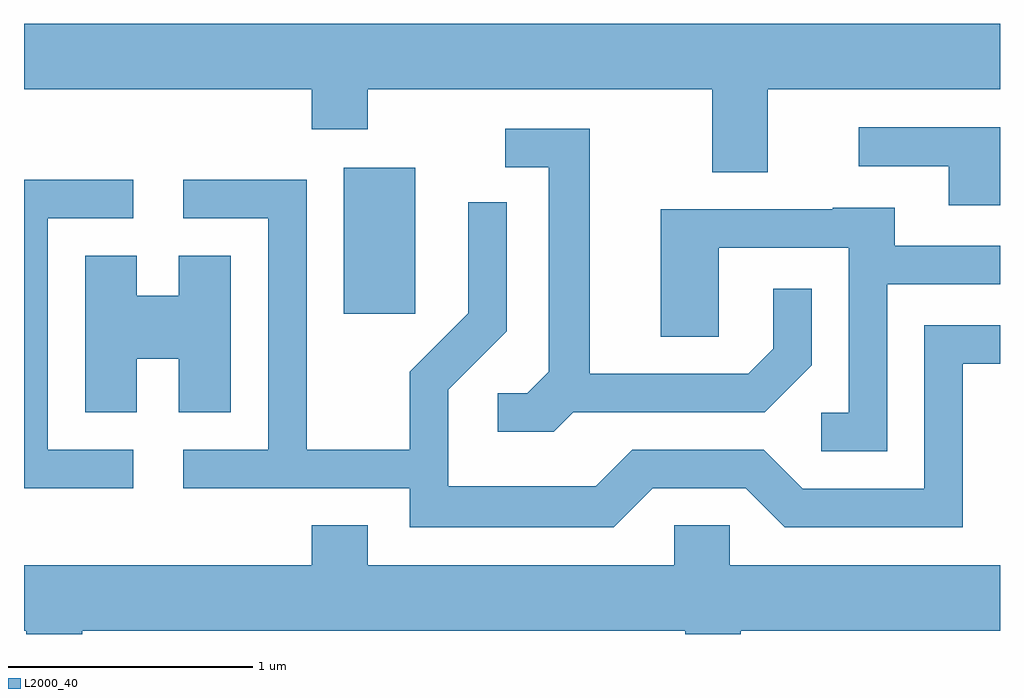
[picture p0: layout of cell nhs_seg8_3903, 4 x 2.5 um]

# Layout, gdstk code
import gdstk
lib = gdstk.Library(unit=1e-6, precision=1e-09)
def R(c, l, rs):  # rectangles x0, y0, x1, y1
    for r in rs: c.add(gdstk.rectangle(r[:2], r[2:], *l))
def P(c, l, *ps):  # polygons
    for p in ps: c.add(gdstk.Polygon(p, *l))
L2000_40 = (2000, 40)

nhs_seg8_3903 = lib.new_cell('nhs_seg8_3903')
R(nhs_seg8_3903, L2000_40, [(302.921,1897.656,303.214,1898.254)])
P(nhs_seg8_3903, L2000_40, [(304.659,1898.576),(305.611,1898.576),(305.611,1898.844),(301.611,1898.844),(301.611,1898.576),(302.791,1898.576),(302.791,1898.411),(303.019,1898.411),(303.019,1898.576),(304.431,1898.576),(304.431,1898.236),(304.659,1898.236)],
  [(305.611,1898.419),(305.033,1898.419),(305.033,1898.261),(305.401,1898.261),(305.401,1898.101),(305.611,1898.101)],
  [(303.862,1897.251),(304.647,1897.251),(304.839,1897.444),(304.839,1897.758),(304.681,1897.758),(304.681,1897.512),(304.579,1897.409),(303.929,1897.409),(303.929,1898.414),(303.583,1898.414),(303.583,1898.256),(303.761,1898.256),(303.761,1897.417),(303.674,1897.329),(303.553,1897.329),(303.553,1897.171),(303.782,1897.171)],
  [(304.187,1896.941),(304.569,1896.941),(304.729,1896.781),(305.459,1896.781),(305.459,1897.451),(305.611,1897.451),(305.611,1897.609),(305.301,1897.609),(305.301,1896.939),(304.802,1896.939),(304.642,1897.099),(304.104,1897.099),(303.954,1896.949),(303.349,1896.949),(303.349,1897.344),(303.589,1897.584),(303.589,1898.113),(303.431,1898.113),(303.431,1897.657),(303.191,1897.417),(303.191,1897.099),(302.769,1897.099),(302.769,1898.204),(302.263,1898.204),(302.263,1898.046),(302.611,1898.046),(302.611,1897.099),(302.263,1897.099),(302.263,1896.941),(303.191,1896.941),(303.191,1896.781),(304.027,1896.781)],
  [(302.058,1897.099),(301.709,1897.099),(301.709,1898.046),(302.058,1898.046),(302.058,1898.204),(301.611,1898.204),(301.611,1896.941),(302.058,1896.941)],
  [(305.149,1897.776),(305.611,1897.776),(305.611,1897.934),(305.179,1897.934),(305.179,1898.089),(304.925,1898.089),(304.925,1898.084),(304.221,1898.084),(304.221,1897.561),(304.459,1897.561),(304.459,1897.926),(304.991,1897.926),(304.991,1897.249),(304.878,1897.249),(304.878,1897.091),(305.149,1897.091)],
  [(302.074,1897.471),(302.246,1897.471),(302.246,1897.251),(302.459,1897.251),(302.459,1897.894),(302.246,1897.894),(302.246,1897.729),(302.074,1897.729),(302.074,1897.894),(301.861,1897.894),(301.861,1897.251),(302.074,1897.251)],
  [(301.849,1896.356),(304.321,1896.356),(304.321,1896.342),(304.549,1896.342),(304.549,1896.356),(305.611,1896.356),(305.611,1896.624),(304.504,1896.624),(304.504,1896.789),(304.276,1896.789),(304.276,1896.624),(303.019,1896.624),(303.019,1896.789),(302.791,1896.789),(302.791,1896.624),(301.611,1896.624),(301.611,1896.356),(301.621,1896.356),(301.621,1896.342),(301.849,1896.342)])

lib.write_gds('nhs_seg8_3903.gds')
